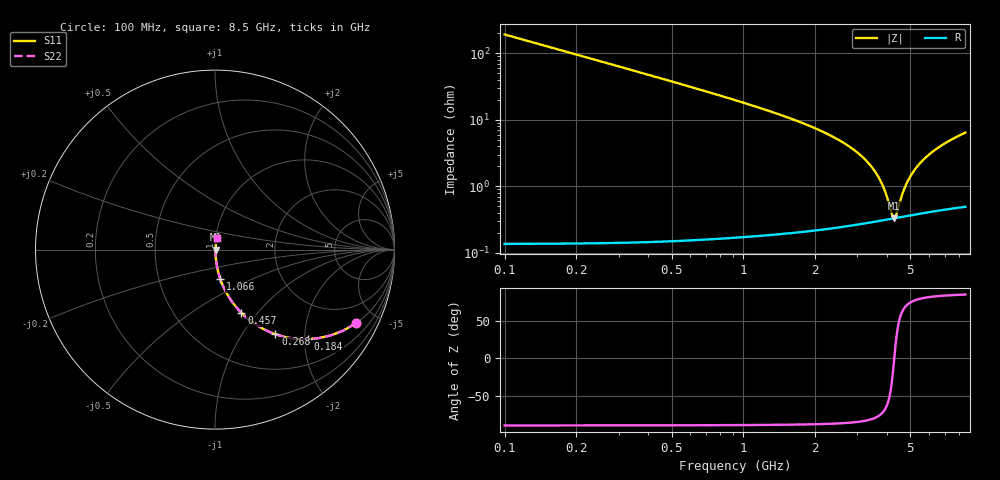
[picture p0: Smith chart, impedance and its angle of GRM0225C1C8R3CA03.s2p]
!Murata Part Number: GRM0225C1C8R3CA03
!These Parameters are Measured in Series Mode Connection
!Data Generated on Mar 30, 2021
!  o--ll--o
!Port1  Port2
!  o------o
!Operation Temp=25[degC], DC Bias Voltage=0[V]
!Freq. Start=100[MHz] Stop=9[GHz] 401[Steps]
# Hz S RI R 50
!Freq.(Hz) S11(Real) S11(Imag) S21(Real) S21(Imag) S12(Real) S12(Imag) S22(Real) S22(Imag)
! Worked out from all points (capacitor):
!   401 points, 100 MHz to 8.5 GHz, reference 50 ohm
!   read as one part in series: C = 8.3 pF near 142 MHz
!   lowest |Z| = 332 mohm at 4.279 GHz (marker M1)
!   series resonance near 4.281 GHz, so ESL is about 170 pH
!   S11 on the Smith chart (normalised r, x): 100 MHz: 1.00, -3.83; 184 MHz: 1.00, -2.08; 268 MHz: 1.00, -1.43; 457 MHz: 1.00, -0.83; 1.066 GHz: 1.00, -0.34; 8.5 GHz: 1.01, +0.13
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1e8  0.7858 -0.4099  0.2142 0.4099  0.2142 0.4099  0.7858 -0.4099
1.84e8  0.5196 -0.499  0.4804 0.499  0.4804 0.499  0.5196 -0.499
2.68e8  0.337 -0.4717  0.663 0.4717  0.663 0.4717  0.337 -0.4717
3.52e8  0.2269 -0.4175  0.7731 0.4175  0.7731 0.4175  0.2269 -0.4175
4.57e8  0.1475 -0.3529  0.8525 0.3529  0.8525 0.3529  0.1475 -0.3529
6.88e8  0.0698 -0.2518  0.9302 0.2518  0.9302 0.2518  0.0698 -0.2518
1.066e9  0.0292 -0.1631  0.9708 0.1631  0.9708 0.1631  0.0292 -0.1631
1.507e9  0.0141 -0.1092  0.9859 0.1092  0.9859 0.1092  0.0141 -0.1092
2.914e9  0.00382 -0.0347  0.9962 0.0347  0.9962 0.0347  0.00382 -0.0347
3.334e9  0.00332 -0.0222  0.9967 0.0222  0.9967 0.0222  0.00332 -0.0222
3.67e9  0.00318 -0.0136  0.9968 0.0136  0.9968 0.0136  0.00318 -0.0136
3.922e9  0.00319 -0.00768  0.9968 0.00768  0.9968 0.00768  0.00319 -0.00768
4.195e9  0.00327 -0.00178  0.9967 0.00178  0.9967 0.00178  0.00327 -0.00178
4.279e9  0.0033 -4.1e-05  0.9967 4.1e-05  0.9967 4.1e-05  0.0033 -4.1e-05
4.3e9  0.00332 0.000387  0.9967 -0.000387  0.9967 -0.000387  0.00332 0.000387
4.636e9  0.00353 0.00696  0.9965 -0.00696  0.9965 -0.00696  0.00353 0.00696
4.888e9  0.00373 0.0116  0.9963 -0.0116  0.9963 -0.0116  0.00373 0.0116
5.245e9  0.00408 0.0178  0.9959 -0.0178  0.9959 -0.0178  0.00408 0.0178
5.707e9  0.00461 0.0253  0.9954 -0.0253  0.9954 -0.0253  0.00461 0.0253
6.337e9  0.00543 0.0347  0.9946 -0.0347  0.9946 -0.0347  0.00543 0.0347
7.114e9  0.00659 0.0455  0.9934 -0.0455  0.9934 -0.0455  0.00659 0.0455
8.5e9  0.00894 0.0632  0.9911 -0.0632  0.9911 -0.0632  0.00894 0.0632
